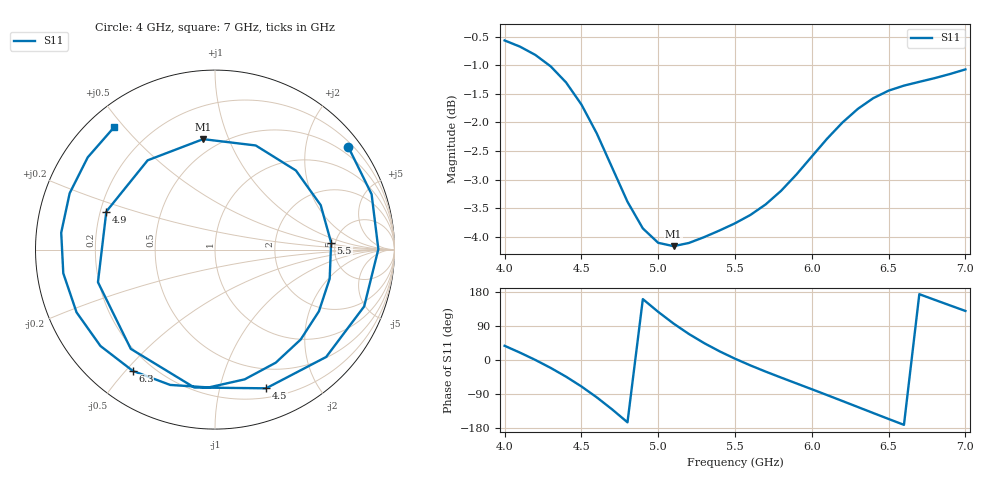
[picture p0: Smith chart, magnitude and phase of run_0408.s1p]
! Touchstone file exported from HFSS 2024.2.0
!  File:  C:/Users/wsak9/Desktop/Sim Fast/Widenad Patch/WP_AI_V1_sweep.aedt
!  Generated:  08:35:58 AM Oct 14, 2026
!  Design:  A1_model
!  Project:  WP_AI_V1_sweep
!  Setup:  Setup1
!  Solution:  Sweep
! Variables:
!  Air_gap = 3.44mm
!  Curve_Amp1 = 0.59
!  Curve_len1 = 1
!  Curve_pos = 12.07mm
!  Extra = 3.61mm
!  H_sub = 0.79mm
!  L_Patch = 20.14mm
!  L_Patch1 = 14.75mm
!  Sx = 0.51mm
!  Sy = 2.99mm
!  WS = 1.38mm
!  W_Patch = 10.07mm
!  W_Patch1 = 11.14mm
!Data is not renormalized
# GHz S MA
! Terminal data exported
! Port[1] = 1
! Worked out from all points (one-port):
!   31 points, 4 GHz to 7 GHz, reference per port
!   lowest |S11| = -4.2 dB at 5.1 GHz (marker M1), VSWR 4.25
!   |S11| at or under -10 dB: nowhere
!   S11 on the Smith chart (normalised r, x): 4 GHz: 0.31, +2.92; 4.5 GHz: 0.29, -1.39; 4.9 GHz: 0.22, +0.16; 5.5 GHz: 4.60, +0.62; 6.3 GHz: 0.13, -0.52; 7 GHz: 0.08, +0.47
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4  0.937 37.5
4.1  0.9254 19.5
4.2  0.9101 0.2
4.3  0.8893 -20.8
4.4  0.8611 -44.0
4.5  0.8236 -69.8
4.6  0.777 -98.6
4.7  0.7252 -130.3
4.8  0.6769 -164.4
4.9  0.6415 160.7
5  0.6232 127.0
5.1  0.619 96.1
5.2  0.623 68.6
5.3  0.6304 44.4
5.4  0.6389 22.8
5.5  0.6481 3.5
5.6  0.6591 -14.2
5.7  0.6734 -30.7
5.9  0.7152 -61.8
6.1  0.7688 -92.6
6.2  0.7943 -108.3
6.3  0.8164 -124.1
6.4  0.8341 -139.9
6.5  0.8469 -155.6
6.6  0.8555 -171.1
6.7  0.862 173.7
6.8  0.8685 158.8
7  0.8839 129.5
